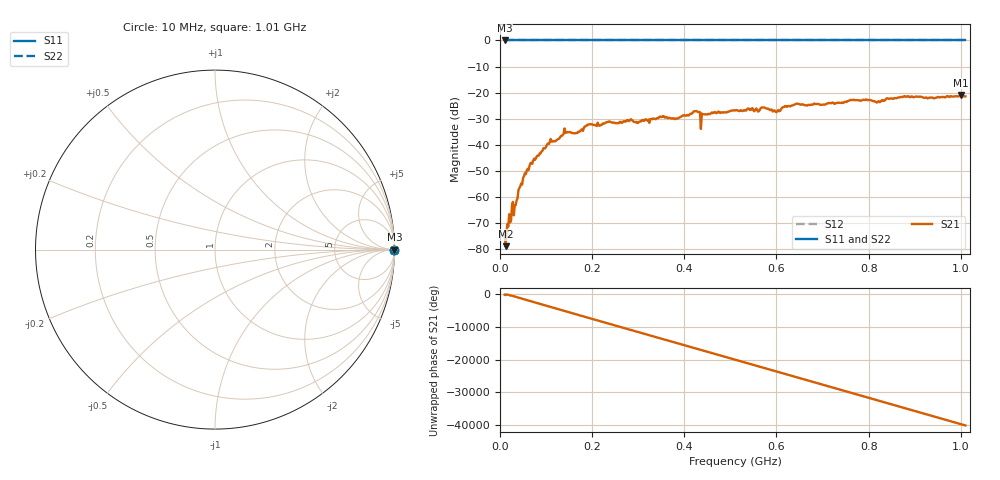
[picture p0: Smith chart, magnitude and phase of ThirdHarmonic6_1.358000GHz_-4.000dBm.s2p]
! 8/16/2025 3:19:02 PM
! C:\ANRITSUVNA\TEMP\TEMP.S2P
! CHANNEL.1
! TR.MEASUREMENT
! RAW.DATA
! RF.CORRECTION.OFF
! AVERAGING.OFF
! IF.BANDWIDTH: 5KHZ
! SWEEPTYPE:  FREQ.SWEEP(Linear)
! Reference Plane Port Info
! PORT:  PORT1  PORT2
! DISTANCE:  0  m  0  m
! TIME:  0  s  0  s
! PHASE.OFFSET:  0  deg.  0  deg.
! LOSS:  0  dB  0  dB
! REF.LOSS:  0  dB  0  dB
! REF.FREQ:  0  Hz  0  Hz
! Power Info
! POWER:  -20  dBm  -20  dBm
! EFF.POWER:  -20  dBm  -20  dBm
! SOURCE.ATTEN:  0  dB  0  dB
! TEST.ATTEN:  0  dB  0  dB
# GHZ S RI R 50.0
! FREQ.GHZ  S11RE  S11IM  S21RE  S21IM  S12RE  S12IM  S22RE  S22IM
!; PortSelection: Port_12
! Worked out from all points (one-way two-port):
!   501 points, 10 MHz to 1.01 GHz, reference 50 ohm
!   highest |S21| = -20.98 dB at 1 GHz (marker M1); lowest = -79.0 dB at 12 MHz (marker M2)
!   lowest |S11| = 0.0 dB at 10 MHz (marker M3)
!   |S11| at or under -10 dB: nowhere
!   |S22| runs from 0.0 to 0.0 dB; largest |S21 - S12| = 1.1
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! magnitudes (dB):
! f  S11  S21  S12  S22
! 10 MHz  0.0  -73.9  0.0  0.0
! 12 MHz  0.0  -79.0  0.0  0.0
! 24 MHz  0.0  -69.2  0.0  0.0
! 34 MHz  0.0  -63.2  0.0  0.0
! 44 MHz  0.0  -56.0  0.0  0.0
! 70 MHz  0.0  -47.3  0.0  0.0
! 106 MHz  0.0  -39.8  0.0  0.0
! 142 MHz  0.0  -35.5  0.0  0.0
! 178 MHz  0.0  -34.1  0.0  0.0
! 194 MHz  0.0  -32.2  0.0  0.0
! 344 MHz  0.0  -29.8  0.0  0.0
! 382 MHz  0.0  -30.0  0.0  0.0
! 424 MHz  0.0  -27.2  0.0  0.0
! 440 MHz  0.0  -28.3  0.0  0.0
! 510 MHz  0.0  -26.9  0.0  0.0
! 572 MHz  0.0  -25.8  0.0  0.0
! 602 MHz  0.0  -27.2  0.0  0.0
! 642 MHz  0.0  -24.4  0.0  0.0
! 678 MHz  0.0  -24.7  0.0  0.0
! 844 MHz  0.0  -22.4  0.0  0.0
! 1 GHz  0.0  -21.0  0.0  0.0
! 1.01 GHz  0.0  -21.5  0.0  0.0
